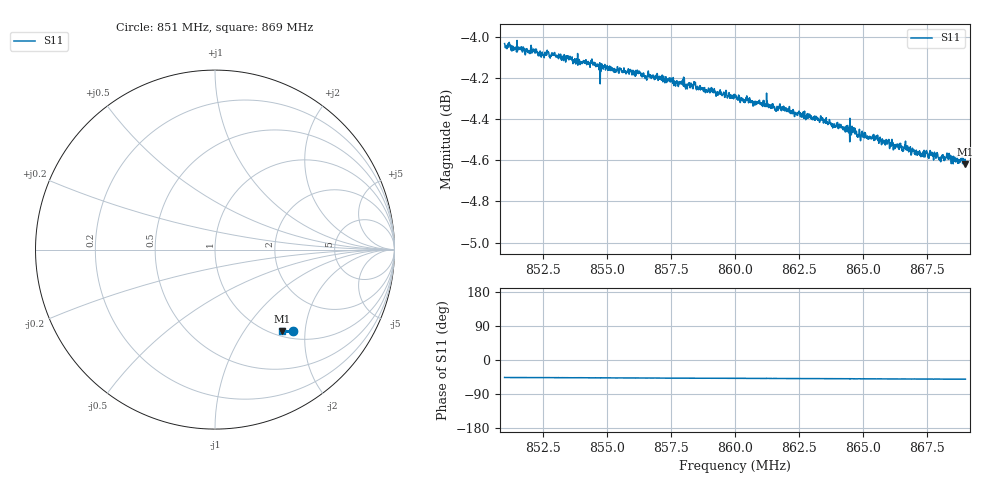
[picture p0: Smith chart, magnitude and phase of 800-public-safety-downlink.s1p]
! Calibrated averaged scanner-service zoom
# Hz S RI R 50
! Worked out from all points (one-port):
!   2001 points, 851 MHz to 869 MHz, reference 50 ohm
!   lowest |S11| = -4.6 dB at 869 MHz (marker M1), VSWR 3.85, Z = 54.8 - j75.8 ohm
!   |S11| at or under -10 dB: nowhere
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8.51e8  0.4355 -0.4532
8.51873e8  0.4324 -0.4538
8.52062e8  0.4306 -0.4534
8.52359e8  0.4295 -0.4542
8.52935e8  0.4286 -0.4552
8.5325e8  0.428 -0.4536
8.53547e8  0.4265 -0.4543
8.53952e8  0.4252 -0.4529
8.54438e8  0.4237 -0.4551
8.54762e8  0.4224 -0.4537
8.555e8  0.4208 -0.4549
8.5775e8  0.4137 -0.4547
8.6e8  0.4055 -0.4558
8.6225e8  0.3966 -0.4561
8.62574e8  0.3964 -0.4558
8.63195e8  0.3942 -0.4563
8.645e8  0.3893 -0.4557
8.64662e8  0.3881 -0.4561
8.64842e8  0.388 -0.4544
8.65031e8  0.3875 -0.4542
8.66075e8  0.3823 -0.4547
8.66264e8  0.3811 -0.4555
8.6675e8  0.3794 -0.455
8.67191e8  0.3781 -0.4544
8.67389e8  0.3791 -0.4549
8.68352e8  0.3766 -0.455
8.68901e8  0.3739 -0.4551
8.69e8  0.3737 -0.4534
